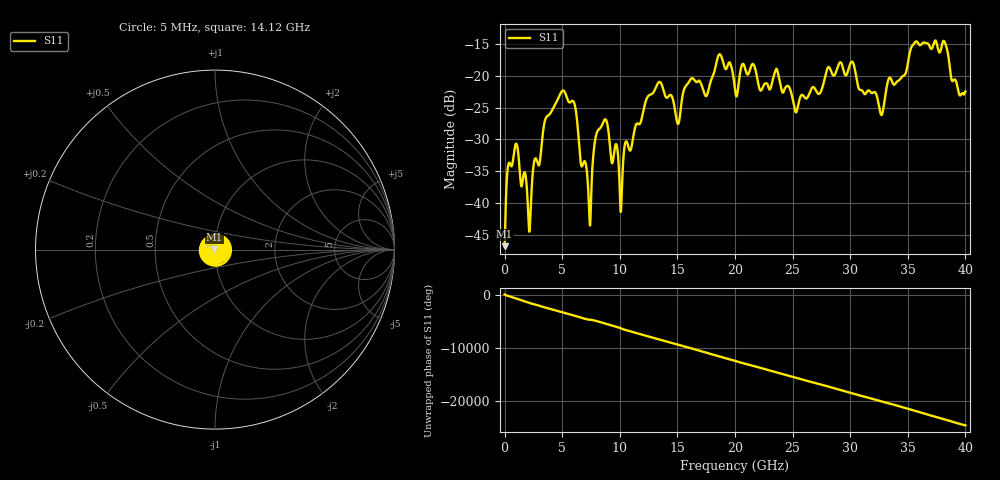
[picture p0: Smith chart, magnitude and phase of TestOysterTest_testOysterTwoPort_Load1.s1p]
! File created by SignalIntegrity v1.1.1: Signal and Power Integrity Tools
! https://github.com/TeledyneLeCroy/SignalIntegrity
# MHz MA S R 50.0
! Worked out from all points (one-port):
!   8000 points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, 5 MHz to 40 GHz, reference 50 ohm
!   lowest |S11| = -46.8 dB at 5 MHz (marker M1), VSWR 1.01, Z = 49.5 + j0.0643 ohm
!   |S11| at or under -10 dB: start of sweep to end of sweep
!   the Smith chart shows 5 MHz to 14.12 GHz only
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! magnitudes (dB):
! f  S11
! 5 MHz  -46.8
! 325 MHz  -34.0
! 940 MHz  -30.9
! 2.16 GHz  -44.5
! 2.565 GHz  -33.5
! 3.525 GHz  -26.9
! 5.005 GHz  -22.4
! 6.085 GHz  -24.5
! 7.365 GHz  -42.1
! 7.91 GHz  -29.7
! 8.68 GHz  -26.9
! 9.725 GHz  -30.9
! 10.01 GHz  -38.2
! 10.52 GHz  -30.4
! 13.33 GHz  -21.1
! 15.01 GHz  -27.5
! 15.79 GHz  -21.5
! 17.53 GHz  -23.2
! 18.64 GHz  -16.6
! 20 GHz  -22.2
! 21.55 GHz  -18.2
! 25 GHz  -23.6
! 30 GHz  -18.1
! 32.7 GHz  -26.2
! 33.35 GHz  -20.4
! 35.01 GHz  -18.1
! 38.16 GHz  -14.6
! 40 GHz  -22.5
